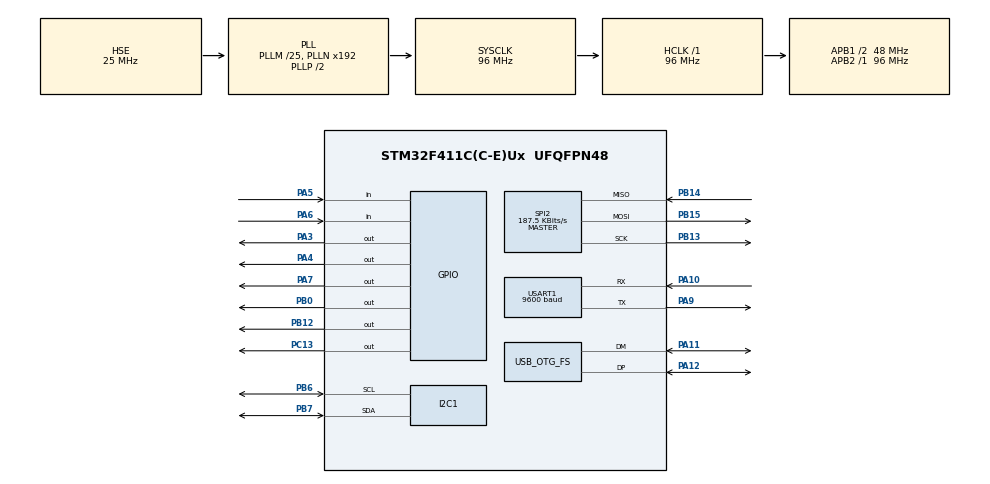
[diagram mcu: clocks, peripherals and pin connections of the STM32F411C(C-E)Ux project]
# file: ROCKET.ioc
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Mcu.Family=STM32F4
Mcu.Name=STM32F411C(C-E)Ux
Mcu.Package=UFQFPN48
NVIC.OTG_FS_IRQn=true\:0\:0\:false\:false\:true\:false\:true\:true
NVIC.PriorityGroup=NVIC_PRIORITYGROUP_4
PA10.Mode=Asynchronous
PA10.Signal=USART1_RX
PA11.Mode=Device_Only
PA11.Signal=USB_OTG_FS_DM
PA12.Mode=Device_Only
PA12.Signal=USB_OTG_FS_DP
PA3.Signal=GPIO_Output
PA4.Signal=GPIO_Output
PA5.Signal=GPIO_Input
PA6.Signal=GPIO_Input
PA7.Signal=GPIO_Output
PA9.Mode=Asynchronous
PA9.Signal=USART1_TX
PB0.Signal=GPIO_Output
PB12.PinState=GPIO_PIN_SET
PB12.Signal=GPIO_Output
PB13.Mode=Full_Duplex_Master
PB13.Signal=SPI2_SCK
PB14.Mode=Full_Duplex_Master
PB14.Signal=SPI2_MISO
PB15.Mode=Full_Duplex_Master
PB15.Signal=SPI2_MOSI
PB6.Mode=I2C
PB6.Signal=I2C1_SCL
PB7.Mode=I2C
PB7.Signal=I2C1_SDA
PC13-ANTI_TAMP.Signal=GPIO_Output
PH0\ -\ OSC_IN.Mode=HSE-External-Oscillator
PH0\ -\ OSC_IN.Signal=RCC_OSC_IN
PH1\ -\ OSC_OUT.Mode=HSE-External-Oscillator
PH1\ -\ OSC_OUT.Signal=RCC_OSC_OUT
ProjectManager.HeapSize=0x200
ProjectManager.StackSize=0x400
ProjectManager.TargetToolchain=STM32CubeIDE
RCC.48MHZClocksFreq_Value=48000000
RCC.AHBFreq_Value=96000000
RCC.APB1CLKDivider=RCC_HCLK_DIV2
RCC.APB1Freq_Value=48000000
RCC.APB1TimFreq_Value=96000000
RCC.APB2Freq_Value=96000000
RCC.APB2TimFreq_Value=96000000
RCC.CortexFreq_Value=96000000
RCC.HCLKFreq_Value=96000000
RCC.HSE_VALUE=25000000
RCC.HSI_VALUE=16000000
RCC.LSE_VALUE=32768
RCC.PLLM=25
RCC.SYSCLKFreq_VALUE=96000000
RCC.SYSCLKSource=RCC_SYSCLKSOURCE_PLLCLK
RCC.VCOOutputFreq_Value=192000000
SPI2.BaudRatePrescaler=SPI_BAUDRATEPRESCALER_256
SPI2.CLKPhase=SPI_PHASE_2EDGE
SPI2.CLKPolarity=SPI_POLARITY_HIGH
SPI2.CalculateBaudRate=187.5 KBits/s
SPI2.Direction=SPI_DIRECTION_2LINES
SPI2.Mode=SPI_MODE_MASTER
SPI2.VirtualType=VM_MASTER
USART1.BaudRate=9600
USART1.VirtualMode=VM_ASYNC
USB_DEVICE.CLASS_NAME_FS=CDC
USB_DEVICE.VirtualMode=Cdc
USB_DEVICE.VirtualModeFS=Cdc_FS
USB_OTG_FS.VirtualMode=Device_Only
VP_USB_DEVICE_VS_USB_DEVICE_CDC_FS.Mode=CDC_FS
board=custom

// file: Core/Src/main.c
/* USER CODE BEGIN Header */
/**
  ******************************************************************************
  * @file           : main.c
  * @brief          : Main program body
  ******************************************************************************
  * @attention
  *
  * Copyright (c) 2026 STMicroelectronics.
  * All rights reserved.
  *
  * This software is licensed under terms that can be found in the LICENSE file
  * in the root directory of this software component.
  * If no LICENSE file comes with this software, it is provided AS-IS.
  *
  ******************************************************************************
  */
/* USER CODE END Header */
#include "main.h"
#include "usb_device.h"

/* USER CODE BEGIN Includes */
#include "usbd_cdc_if.h"
#include <string.h>
#include <stdio.h>
#include <stdarg.h>

#include "MPU9250.h"
#include "BMP280.h"
#include "sdcard.h"
#include "qmc5883p.h"
#include "LoRa.h"
#include "gps.h"

/* USER CODE END Includes */

I2C_HandleTypeDef hi2c1;

SPI_HandleTypeDef hspi2;

UART_HandleTypeDef huart1;

void SystemClock_Config(void);
static void MX_GPIO_Init(void);
static void MX_SPI2_Init(void);
static void MX_I2C1_Init(void);
static void MX_USART1_UART_Init(void);

/* USER CODE BEGIN 0 */

MPU9250_t MPU9250;
static BMP280_t bmp280;

QMC5883P_HandleTypeDef qmc;
volatile bool qmc_dataReady = false;

LoRa myLora;

void USB_Print(const char* str)
{
    CDC_Transmit_FS((uint8_t*)str, strlen(str));
}

void USB_Printf(const char* format, ...)
{
    char buf[128];
    va_list args;
    va_start(args, format);
    vsnprintf(buf, sizeof(buf), format, args);
    va_end(args);
    CDC_Transmit_FS((uint8_t*)buf, strlen(buf));
}

/* USER CODE END 0 */

int main(void)
{

  /* USER CODE BEGIN 1 */

  MPU9250.settings.gFullScaleRange = GFSR_500DPS;
  MPU9250.settings.aFullScaleRange = AFSR_4G;
  MPU9250.settings.CS_PIN = GPIO_PIN_12;
  MPU9250.settings.CS_PORT = GPIOB;
  MPU9250.attitude.tau = 0.98;
  MPU9250.attitude.dt = 0.004;

  /* USER CODE END 1 */

  /* MCU Configuration--------------------------------------------------------*/

  /* Reset of all peripherals, Initializes the Flash interface and the Systick. */
  HAL_Init();

  /* Configure the system clock */
  SystemClock_Config();

  /* Initialize all configured peripherals */
  MX_GPIO_Init();
  MX_SPI2_Init();
  MX_USB_DEVICE_Init();
  MX_I2C1_Init();
  MX_USART1_UART_Init();
  /* USER CODE BEGIN 2 */

  HAL_Delay(1000);

  if (MPU_begin(&hspi2, &MPU9250) != 1)
  {
      USB_Printf("ERROR\n\r");
  }

  HAL_GPIO_WritePin(GPIOA, GPIO_PIN_3, GPIO_PIN_RESET);

  BMP280_Attach(&bmp280, &hspi2, GPIOA, GPIO_PIN_3);
  BMP280_Status_t st = BMP280_Init(&bmp280,
                                    BMP280_OSRS_X2,          /* temp oversampling */
                                    BMP280_OSRS_X16,         /* pressure oversampling */
                                    BMP280_MODE_NORMAL,      /* free-running */
                                    BMP280_STANDBY_62_5MS,   /* time between samples */
                                    BMP280_FILTER_4);        /* IIR filter */

  if (st != BMP280_OK) {
      USB_Printf("BMP280 init failed, err=%d\r\n", (int)st);
  }

  USB_Printf("BMP280 ready\r\n");

  HAL_GPIO_WritePin(GPIOA, GPIO_PIN_3, GPIO_PIN_SET);

  MPU_calibrateGyro(&hspi2, &MPU9250, 1500);

  /* --- Début Code SD Card --- */

  // IMPORTANT : mettre CS à l'état haut AVANT toute autre init SPI
  SDCARD_Unselect();

  int ret = SDCARD_Init();
  if (ret != 0) {
      USB_Printf("SDCARD_Init failed: %d\r\n", ret);
      Error_Handler();
  }
  USB_Printf("SDCARD_Init OK\r\n");

  // Lire le nombre de blocs de la carte
  uint32_t numBlocks = 0;
  if (SDCARD_GetBlocksNumber(&numBlocks) == 0) {
      USB_Printf("Nombre de blocs : %lu (~%lu Mo)\r\n",
                 (unsigned long)numBlocks,
                 (unsigned long)(numBlocks / 2 / 1024));
  } else {
      USB_Printf("Erreur lecture CSD\r\n");
  }

  // Ecrire un bloc de test
  uint8_t writeBuf[512];
  memset(writeBuf, 0xAA, sizeof(writeBuf));
  strcpy((char*)writeBuf, "Hello SD card!");

  if (SDCARD_WriteSingleBlock(0, writeBuf) == 0) {
      USB_Printf("Ecriture bloc 0 OK\r\n");
  } else {
      USB_Printf("Erreur ecriture bloc 0\r\n");
  }

  // Relire ce bloc pour vérifier
  uint8_t readBuf[512] = {0};
  if (SDCARD_ReadSingleBlock(0, readBuf) == 0) {
      USB_Printf("Lecture bloc 0 OK : %s\r\n", (char*)readBuf);
  } else {
      USB_Printf("Erreur lecture bloc 0\r\n");
  }

  // Lecture multi-blocs (blocs 0 à 3)
  uint8_t multiBuf[512];
  if (SDCARD_ReadBegin(0) == 0) {
      for (int i = 0; i < 4; i++) {
          if (SDCARD_ReadData(multiBuf) != 0) {
              USB_Printf("Erreur lecture multi-bloc %d\r\n", i);
              break;
          }
          USB_Printf("Bloc %d lu, premier octet = 0x%02X\r\n", i, multiBuf[0]);
      }
      SDCARD_ReadEnd();
  }

  /* --- Fin Code SD Card --- */

  /* --- Début Code QMC5883P --- */

  if (!qmc5883p_init(&qmc, &hi2c1, QMC5883P_I2C_ADDR))
  {
      USB_Printf("QMC5883P init failed\r\n");
      Error_Handler();
  }
  USB_Printf("QMC5883P ready\r\n");

  /* Offsets/scales par defaut, a remplacer par les valeurs de calibration */
  qmc5883p_set_offsets(&qmc, 0.0f, 0.0f, 0.0f);
  qmc5883p_set_scales(&qmc, 1.0f, 1.0f, 1.0f);

  /* --- Fin Code QMC5883P --- */

  /* --- Début Code LoRa SX1278 (Ra-02) --- */

  myLora = newLoRa();          // hSPIx est deja fixe sur hspi2 dans la bibliotheque

  myLora.CS_port    = GPIOA;
  myLora.CS_pin     = GPIO_PIN_7;   // NSS
  myLora.reset_port = GPIOB;
  myLora.reset_pin  = GPIO_PIN_0;   // RESET
  myLora.DIO0_port  = GPIOA;
  myLora.DIO0_pin   = GPIO_PIN_6;   // DIO0

  // NSS doit etre au repos a l'etat haut (module non selectionne)
  HAL_GPIO_WritePin(GPIOA, GPIO_PIN_7, GPIO_PIN_SET);

  LoRa_reset(&myLora);

  uint16_t loraStatus = LoRa_init(&myLora);
  if (loraStatus != LORA_OK)
  {
      USB_Printf("LoRa init failed: %d\r\n", loraStatus);
      Error_Handler();
  }
  USB_Printf("LoRa ready\r\n");

  LoRa_startReceiving(&myLora);

  /* --- Fin Code LoRa SX1278 --- */

  /* --- Debut Code GPS (USART1) --- */

  GPS_Init();   // arme la reception 1 octet en IT sur huart1

  /* --- Fin Code GPS --- */

  /* USER CODE END 2 */

  /* Infinite loop */
  /* USER CODE BEGIN WHILE */
  while (1)
  {
      HAL_GPIO_TogglePin(GPIOC, GPIO_PIN_13);

      MPU_calcAttitude(&hspi2, &MPU9250);
      int16_t roll = roundf(10 * MPU9250.attitude.r);
      uint8_t rollDecimal = abs(roll % 10);
      int16_t pitch = roundf(10 * MPU9250.attitude.p);
      uint8_t pitchDecimal = abs(pitch % 10);
      int16_t yaw = roundf(10 * MPU9250.attitude.y);
      uint8_t yawDecimal = abs(yaw % 10);

      USB_Printf("%d.%d,%d.%d,%d.%d\n\r",roll/10, rollDecimal, pitch/10, pitchDecimal, yaw/10, yawDecimal);

      HAL_GPIO_WritePin(GPIOA, GPIO_PIN_3, GPIO_PIN_RESET);

      int32_t t100;
      uint32_t p256;

      if (BMP280_ReadCompensated(&bmp280, &t100, &p256) == BMP280_OK) {
          USB_Printf("T = %ld.%02ld C   P = %lu.%02lu hPa\r\n",
                     t100 / 100, abs((int)(t100 % 100)),
                     p256 / 256, ((p256 % 256) * 100) / 256);
      } else {
          USB_Printf("BMP280 read error\r\n");
      }

      HAL_Delay(1000);

      HAL_GPIO_WritePin(GPIOA, GPIO_PIN_3, GPIO_PIN_SET);

      HAL_Delay(1000);

      if (qmc_dataReady)
      {
          qmc_dataReady = false;

          float xyz[3];
          if (qmc5883p_read_xyz(&qmc, xyz))
          {
              float heading = qmc5883p_get_heading(&qmc, 0.0f); /* 0.0f = declinaison locale */
              USB_Printf("Mag X=%.2f Y=%.2f Z=%.2f  Heading=%.1f deg\r\n",
                         xyz[0], xyz[1], xyz[2], heading);
          }
      }

      /* --- Affichage GPS --- */
      if (GPS.lock > 0) {
          USB_Printf("GPS lat=%.6f lon=%.6f sat=%d hdop=%.1f\r\n",
                     GPS.dec_latitude, GPS.dec_longitude,
                     GPS.satelites, GPS.hdop);
      } else {
          USB_Printf("GPS: pas de fix\r\n");
      }

    /* USER CODE END WHILE */

  }
}

void SystemClock_Config(void)
{
  RCC_OscInitTypeDef RCC_OscInitStruct = {0};
  RCC_ClkInitTypeDef RCC_ClkInitStruct = {0};

  /** Configure the main internal regulator output voltage
  */
  __HAL_RCC_PWR_CLK_ENABLE();
  __HAL_PWR_VOLTAGESCALING_CONFIG(PWR_REGULATOR_VOLTAGE_SCALE1);

  /** Initializes the RCC Oscillators according to the specified parameters
  * in the RCC_OscInitTypeDef structure.
  */
  RCC_OscInitStruct.OscillatorType = RCC_OSCILLATORTYPE_HSE;
  RCC_OscInitStruct.HSEState = RCC_HSE_ON;
  RCC_OscInitStruct.PLL.PLLState = RCC_PLL_ON;
  RCC_OscInitStruct.PLL.PLLSource = RCC_PLLSOURCE_HSE;
  RCC_OscInitStruct.PLL.PLLM = 25;
  RCC_OscInitStruct.PLL.PLLN = 192;
  RCC_OscInitStruct.PLL.PLLP = RCC_PLLP_DIV2;
  RCC_OscInitStruct.PLL.PLLQ = 4;
  if (HAL_RCC_OscConfig(&RCC_OscInitStruct) != HAL_OK)
  {
    Error_Handler();
  }

  /** Initializes the CPU, AHB and APB buses clocks
  */
  RCC_ClkInitStruct.ClockType = RCC_CLOCKTYPE_HCLK|RCC_CLOCKTYPE_SYSCLK
                              |RCC_CLOCKTYPE_PCLK1|RCC_CLOCKTYPE_PCLK2;
  RCC_ClkInitStruct.SYSCLKSource = RCC_SYSCLKSOURCE_PLLCLK;
  RCC_ClkInitStruct.AHBCLKDivider = RCC_SYSCLK_DIV1;
  RCC_ClkInitStruct.APB1CLKDivider = RCC_HCLK_DIV2;
  RCC_ClkInitStruct.APB2CLKDivider = RCC_HCLK_DIV1;

  if (HAL_RCC_ClockConfig(&RCC_ClkInitStruct, FLASH_LATENCY_3) != HAL_OK)
  {
    Error_Handler();
  }
}

static void MX_I2C1_Init(void)
{

  hi2c1.Instance = I2C1;
  hi2c1.Init.ClockSpeed = 100000;
  hi2c1.Init.DutyCycle = I2C_DUTYCYCLE_2;
  hi2c1.Init.OwnAddress1 = 0;
  hi2c1.Init.AddressingMode = I2C_ADDRESSINGMODE_7BIT;
  hi2c1.Init.DualAddressMode = I2C_DUALADDRESS_DISABLE;
  hi2c1.Init.OwnAddress2 = 0;
  hi2c1.Init.GeneralCallMode = I2C_GENERALCALL_DISABLE;
  hi2c1.Init.NoStretchMode = I2C_NOSTRETCH_DISABLE;
  if (HAL_I2C_Init(&hi2c1) != HAL_OK)
  {
    Error_Handler();
  }

}

static void MX_SPI2_Init(void)
{

  /* SPI2 parameter configuration*/
  hspi2.Instance = SPI2;
  hspi2.Init.Mode = SPI_MODE_MASTER;
  hspi2.Init.Direction = SPI_DIRECTION_2LINES;
  hspi2.Init.DataSize = SPI_DATASIZE_8BIT;
  hspi2.Init.CLKPolarity = SPI_POLARITY_HIGH;
  hspi2.Init.CLKPhase = SPI_PHASE_2EDGE;
  hspi2.Init.NSS = SPI_NSS_SOFT;
  hspi2.Init.BaudRatePrescaler = SPI_BAUDRATEPRESCALER_256;
  hspi2.Init.FirstBit = SPI_FIRSTBIT_MSB;
  hspi2.Init.TIMode = SPI_TIMODE_DISABLE;
  hspi2.Init.CRCCalculation = SPI_CRCCALCULATION_DISABLE;
  hspi2.Init.CRCPolynomial = 10;
  if (HAL_SPI_Init(&hspi2) != HAL_OK)
  {
    Error_Handler();
  }

}

static void MX_USART1_UART_Init(void)
{

  huart1.Instance = USART1;
  huart1.Init.BaudRate = 9600;
  huart1.Init.WordLength = UART_WORDLENGTH_8B;
  huart1.Init.StopBits = UART_STOPBITS_1;
  huart1.Init.Parity = UART_PARITY_NONE;
  huart1.Init.Mode = UART_MODE_TX_RX;
  huart1.Init.HwFlowCtl = UART_HWCONTROL_NONE;
  huart1.Init.OverSampling = UART_OVERSAMPLING_16;
  if (HAL_UART_Init(&huart1) != HAL_OK)
  {
    Error_Handler();
  }
  /* USER CODE BEGIN USART1_Init 2 */

  /* Necessaire pour que HAL_UART_Receive_IT (utilise par GPS_Init) fonctionne :
   * si le fichier stm32f4xx_hal_msp.c (genere par CubeMX) active deja
   * USART1_IRQn dans HAL_UART_MspInit(), ces deux lignes sont redondantes
   * mais sans danger. */
  HAL_NVIC_SetPriority(USART1_IRQn, 1, 0);
  HAL_NVIC_EnableIRQ(USART1_IRQn);

  /* USER CODE END USART1_Init 2 */

}

static void MX_GPIO_Init(void)
{
  GPIO_InitTypeDef GPIO_InitStruct = {0};

  /* GPIO Ports Clock Enable */
  __HAL_RCC_GPIOC_CLK_ENABLE();
  __HAL_RCC_GPIOH_CLK_ENABLE();
  __HAL_RCC_GPIOA_CLK_ENABLE();
  __HAL_RCC_GPIOB_CLK_ENABLE();

  /*Configure GPIO pin Output Level */
  HAL_GPIO_WritePin(GPIOC, GPIO_PIN_13, GPIO_PIN_RESET);

  /*Configure GPIO pin Output Level */
  HAL_GPIO_WritePin(GPIOA, GPIO_PIN_3|GPIO_PIN_4|GPIO_PIN_7, GPIO_PIN_RESET);

  /*Configure GPIO pin Output Level */
  HAL_GPIO_WritePin(GPIOB, GPIO_PIN_0, GPIO_PIN_RESET);

  /*Configure GPIO pin Output Level */
  HAL_GPIO_WritePin(GPIOB, GPIO_PIN_12, GPIO_PIN_SET);

  /*Configure GPIO pin : PC13 */
  GPIO_InitStruct.Pin = GPIO_PIN_13;
  GPIO_InitStruct.Mode = GPIO_MODE_OUTPUT_PP;
  GPIO_InitStruct.Pull = GPIO_NOPULL;
  GPIO_InitStruct.Speed = GPIO_SPEED_FREQ_LOW;
  HAL_GPIO_Init(GPIOC, &GPIO_InitStruct);

  /*Configure GPIO pins : PA3 PA4 PA7 */
  GPIO_InitStruct.Pin = GPIO_PIN_3|GPIO_PIN_4|GPIO_PIN_7;
  GPIO_InitStruct.Mode = GPIO_MODE_OUTPUT_PP;
  GPIO_InitStruct.Pull = GPIO_NOPULL;
  GPIO_InitStruct.Speed = GPIO_SPEED_FREQ_LOW;
  HAL_GPIO_Init(GPIOA, &GPIO_InitStruct);

  /*Configure GPIO pins : PA5 PA6 */
  GPIO_InitStruct.Pin = GPIO_PIN_5|GPIO_PIN_6;
  GPIO_InitStruct.Mode = GPIO_MODE_INPUT;
  GPIO_InitStruct.Pull = GPIO_NOPULL;
  HAL_GPIO_Init(GPIOA, &GPIO_InitStruct);

  /*Configure GPIO pins : PB0 PB12 */
  GPIO_InitStruct.Pin = GPIO_PIN_0|GPIO_PIN_12;
  GPIO_InitStruct.Mode = GPIO_MODE_OUTPUT_PP;
  GPIO_InitStruct.Pull = GPIO_NOPULL;
  GPIO_InitStruct.Speed = GPIO_SPEED_FREQ_LOW;
  HAL_GPIO_Init(GPIOB, &GPIO_InitStruct);

  /* USER CODE BEGIN MX_GPIO_Init_2 */

  /* EXTI interrupt init for PA5 (QMC5883P DRDY) */
  HAL_NVIC_SetPriority(EXTI9_5_IRQn, 2, 0);
  HAL_NVIC_EnableIRQ(EXTI9_5_IRQn);

  /* USER CODE END MX_GPIO_Init_2 */
}

/* USER CODE BEGIN 4 */

void HAL_GPIO_EXTI_Callback(uint16_t GPIO_Pin)
{
    if (GPIO_Pin == GPIO_PIN_5) /* PA5 = QMC5883P DRDY */
    {
        qmc_dataReady = true;
    }
}

void HAL_UART_RxCpltCallback(UART_HandleTypeDef *huart)
{
    if (huart->Instance == USART1)
    {
        GPS_UART_CallBack();
    }
}

/* USER CODE END 4 */

void Error_Handler(void)
{
  __disable_irq();
  while (1)
  {
  }
}
